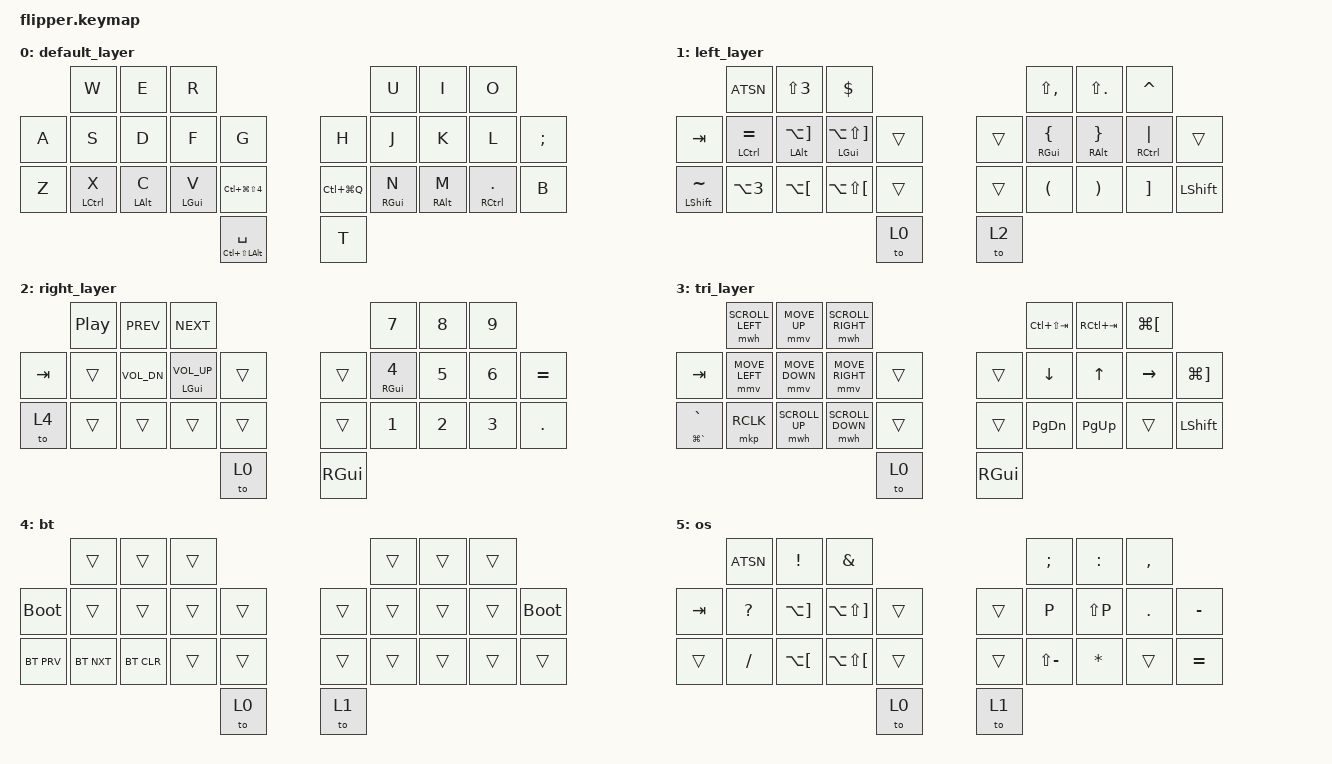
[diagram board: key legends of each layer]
/*
 * Copyright (c) 2020 The ZMK Contributors
 *
 * SPDX-License-Identifier: MIT
 */

#include <behaviors.dtsi>
#include <dt-bindings/zmk/keys.h>
#include <dt-bindings/zmk/bt.h>
#include <dt-bindings/zmk/mouse.h>


&mt {
    tapping-term-ms = <200>;
    flavor = "tap-preferred";
 };
&sk {
     release-after-ms = <2000>;
     quick-release;
 };


/ {
    combos {
        compatible = "zmk,combos";
        combo_esc {
            timeout-ms = <50>;
            key-positions = <17 18>;
            bindings = <&kp ESC>;
        };
        combo_bksc {
            timeout-ms = <20>;
            key-positions = <23 24>;
            bindings = <&to 3>;
        };
        combo_ent {
            timeout-ms = <20>;
	    key-positions = <14 15>;
            bindings = <&kp RET>;
        };
        combo_1 {
            timeout-ms = <50>;
	    key-positions = <26 27>;
            bindings = <&to 1>;
        };
        combo_2 {
            timeout-ms = <50>;
            key-positions = <13 14>;
            bindings = <&to 2>;
        };
        combo_3 {
            timeout-ms = <50>;
	    key-positions = <4 5>;
            bindings = <&kp BKSP>;
        };
        caps {
           timeout-ms = <50>;
	    key-positions = <24 25>;
            bindings = <&kp CAPS>;
        };
        rshift {
            timeout-ms = <50>;
	    key-positions = <16 17>;
            bindings = <&sk RSHIFT>;
        };
        osl {
            timeout-ms = <50>;
	    key-positions = <3 5>;
            bindings = <&sl 5>;
        };
        q {
            timeout-ms = <10>;
	    key-positions = <8 9>;
            bindings = <&kp Q>;
	    layers = <0>;
        };
        y {
            timeout-ms = <20>;
	    key-positions = <18 19>;
            bindings = <&kp Y>;
	    layers = <0>;
        };
        sqt {

        bslh {
            timeout-ms = <20>;
	    key-positions = <12	13>;
            bindings = <&kp BSLH>;
	    layers = <1>;
        };
        lbkt {
            timeout-ms = <20>;
	    key-positions = <22	23>;
            bindings = <&kp LBKT>;
	    layers = <1>;
        };

        plus {
            timeout-ms = <20>;
	    key-positions = <8 9>;
            bindings = <&kp LS(EQUAL)>;
	    layers = <2>;
        };
	prcnt {
            timeout-ms = <20>;
	    key-positions = <18 19>;
            bindings = <&kp PRCNT>;
	    layers = <2>;
        };
        minus {
            timeout-ms = <20>;
	    key-positions = <12	13>;
            bindings = <&kp MINUS>;
	    layers = <2>;
        };
        n0 {
            timeout-ms = <20>;
	    key-positions = <22	23>;
            bindings = <&kp N0>;
	    layers = <2>;
        };
        lalt {
            timeout-ms = <20>;
	    key-positions = <8 9>;
            bindings = <&kp LALT>;
	    layers = <3>;
        };
	del {
            timeout-ms = <20>;
	    key-positions = <18 19>;
            bindings = <&kp DEL>;
	    layers = <3>;
        };
        left {
            timeout-ms = <20>;
	    key-positions = <12	13>;
            bindings = <&kp LEFT>;
	    layers = <3>;
        };
        lclk {
            timeout-ms = <20>;
	    key-positions = <22	23>;
            bindings = <&mkp LCLK>;
	    layers = <3>;
        };


    };

    behaviors {
        hm: homerow_mods {
            compatible = "zmk,behavior-hold-tap";
            label = "HOMEROW_MODS";
            #binding-cells = <2>;
            tapping-term-ms = <200>;
            quick_tap_ms = <0>;
            flavor = "tap-preferred";
            bindings = <&kp>, <&kp>;
        };
        hs: homerow_shifts {
            compatible = "zmk,behavior-hold-tap";
            label = "HOMEROW_SHIFTS";
            #binding-cells = <2>;
            tapping-term-ms = <150>;
            quick_tap_ms = <0>;
            flavor = "balanced";
            bindings = <&kp>, <&kp>;
        };
	td: tapdance {
            compatible = "zmk,behavior-hold-tap";
            label = "TAPDANCE";
            #binding-cells = <2>;
            tapping-term-ms = <190>;
            quick_tap_ms = <0>;
            flavor = "tap-preferred";
            bindings = <&kp>, <&kp>;
        };
    };

        keymap {
                compatible = "zmk,keymap";

       		default_layer {
		bindings = <
        &kp W 	   	&kp E 		&kp R								                &kp U 		&kp I   	&kp O
&kp A 	&kp S 	    &kp D	    &kp F 	    &kp G        		    &kp H 	        &kp J       &kp K       &kp L 	        &kp SEMI
&kp Z	&hm LCTL X 	&hm LALT C	&hm LGUI V	&kp LC(LG(LS(N4)))   	&kp LC(LG(Q))	&hm RGUI N  &hm RALT M 	&hm RCTL DOT 	&kp B
                                            &mt LC(LS(LALT)) SPC    &kp T
		>;
		};

       		left_layer {
		bindings = <
                    &kp ATSN   	    &kp LS(N3) 			&kp DLLR    						    &kp LS(COMMA) 	&kp LS(DOT) 	&kp CARET
&kp TAB    		    &hm LCTL EQUAL  &hm LALT LA(RBKT)   &hm LGUI LA(LS(RBKT))	&trans  &trans	&hm RGUI LBRC  	&hm RALT RBRC 	&hm RCTL PIPE   &trans
&hs LSHIFT TILDE	&kp LA(N3) 	    &kp LA(LBKT)		&kp LA(LS(LBKT))  		&trans 	&trans	&kp LPAR 	    &kp RPAR 	    &kp RBKT  	    &kp LSHIFT
                                                                                &to 0	&to 2
		>;
		};

		right_layer {
		bindings = <
        &kp C_PP 	&kp C_PREV  	&kp C_NEXT  							&kp N7 		&kp N8 	&kp N9
&kp TAB	&trans   	&kp C_VOL_DN	&hm LGUI C_VOL_UP	&trans	&trans 	    &hm RGUI N4	&kp N5 	&kp N6  &kp EQUAL
&to 4  	&trans 		&trans	  	    &trans 			    &trans  &trans 		&kp N1 		&kp N2 	&kp N3	&kp DOT
                                                        &to 0 	&kp RGUI
		>;
		};

		tri_layer {
		bindings = <
                    &mwh SCROLL_LEFT    &mmv MOVE_UP    &mwh SCROLL_RIGHT    					&kp LC(LS(TAB)) &kp RC(TAB)	&kp LG(LBKT)
&kp TAB			    &mmv MOVE_LEFT      &mmv MOVE_DOWN	&mmv MOVE_RIGHT 	&trans	&trans		&kp DOWN  		&kp UP      &kp RIGHT 	&kp LG(RBKT)
&td LG(GRAVE) GRAVE &mkp RCLK  		    &mwh SCROLL_UP	&mwh SCROLL_DOWN 	&trans  &trans 	    &kp PG_DN  		&kp PG_UP  	&trans		&kp LSHIFT
                                                                            &to 0 	&kp RGUI
		>;
		};

		bt {
		bindings = <
            &trans 		&trans 		&trans 			        &trans 	&trans	&trans
&bootloader &trans 		&trans 		&trans 	&trans 	&trans 	&trans 	&trans 	&trans	&bootloader
&bt BT_PRV	&bt BT_NXT 	&bt BT_CLR 	&trans 	&trans 	&trans 	&trans  &trans  &trans 	&trans
                                            &to 0 	&to 1
		>;
		};

		os {
		bindings = <
        &kp ATSN	&kp EXCL 	    &kp AMPS			                &kp SEMI	    &kp COLON   &kp COMMA
&kp TAB &kp QMARK 	&kp LA(RBKT)	&kp LA(LS(RBKT))  	&trans 	&trans	&kp P           &kp LS(P) 	&kp DOT	    &kp MINUS
&trans	&kp SLASH 	&kp LA(LBKT)	&kp LA(LS(LBKT))  	&trans	&trans 	&kp LS(MINUS)   &kp STAR    &trans      &kp EQUAL
                                                        &to 0 	&to 1
		>;
		};

	};
};
